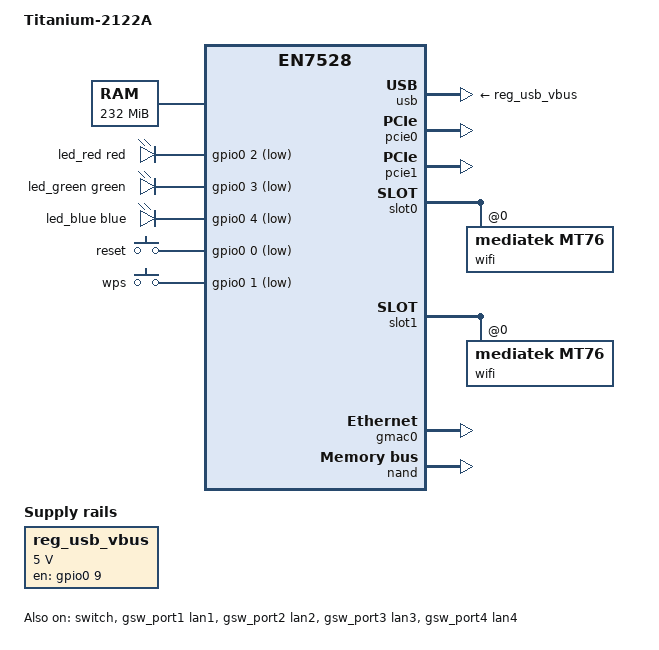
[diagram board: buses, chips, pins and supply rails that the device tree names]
// SPDX-License-Identifier: (GPL-2.0-only OR BSD-2-Clause)
/dts-v1/;

#include "en7528.dtsi"

#include <dt-bindings/gpio/gpio.h>
#include <dt-bindings/input/input.h>
#include <dt-bindings/leds/common.h>

/*
 * JioFiber JCOW407 (Reliance Jio GPON ONT) — EcoNet/Airoha EN7528, MIPS 1004Kc.
 * First-cut port derived from the in-tree DASAN H660GM-A (Airtel) EN7528 ONT.
 *
 * VERIFIED from this unit's serial boot capture:
 *   - SoC EN7528 (econet,en7528 subtarget), little-endian 1004Kc
 *   - RAM 256 MB DDR3
 *   - SPI-NAND FORESEE FS35ND02GS3Y2 (256 MB, ID cd eb 11)
 *   - Wi-Fi MediaTek MT7663 (ChipID 0x7663) -> mt76 (mt7615e + mt7603)
 *   - Flash partition offsets from /proc/mtd sizes: bootloader@0, romfile@0x40000,
 *     tclinux@0x80000 (0x1900000), tclinux_slave@0x1980000 (0x1900000),
 *     opt0@0x3280000, opt1@0x3a80000, ubifs@0x4280000,
 *     reservearea@0xddc0000 (0x240000) <- boot flag lives at +0x200000
 *     (verified by writing 0xdfc0000 from the bootloader)
 *
 * UNVERIFIED (inherited from DASAN H660GM-A — confirm on-device once root):
 *   - LED / gpio-keys GPIO numbers
 *   - MAC base offset inside romfile/dzs (DASAN: macaddr@a in "dzs")
 *   - Wi-Fi precal/EEPROM offsets inside reservearea (DASAN: 0x40000 / 0x1c0000)
 *   - usb vbus GPIO, ethernet switch/PHY port map
 */

/ {
	model = "Titanium-2122A";
	compatible = "titanium,t2122a", "econet,en7528";

	aliases {
		led-boot = &led_green;
		led-failsafe = &led_red;
		led-running = &led_green;
		led-upgrade = &led_blue;
		serial0 = &uart;
	};

	memory@0 {
		device_type = "memory";
		/* 512 MB physical, BUT SoC peripheral MMIO sits at 0x1fbf0000 (uart),
		 * 0x1fb8xxxx (pcie), 0x1fb90000 (usb). A flat 0x0-0x1fffffff RAM node
		 * overlaps that block, so ioremap() of the UART returns NULL and the
		 * 8250 probe panics in set_mctrl. The vendor kernel caps usable RAM at
		 * 0x1affffff, so limit RAM to 0x1b000000 (432 MB) below the MMIO hole. */
		reg = <0x00000000 0x0e800000>;
	};

	chosen {
		stdout-path = "serial0:115200n8";
		linux,usable-memory-range = <0x00020000 0x0e7e0000>;
		/* Attach UBI on the "opt0" partition (mtd) at boot so fstools
		 * mounts its "rootfs_data" volume as the /overlay — persistent
		 * config on NAND. opt0 is used because the stock firmware owns the
		 * "ubifs"/"ubifs2" partitions (its config_data /flash + config_data2
		 * /flash2) and reformats them on boot, so putting the OpenWrt overlay
		 * there would make stock (Slot A) and OpenWrt clobber each other's
		 * data. opt0 is untouched by stock, so the two coexist. jffs2-in-
		 * mtdblock split does not work on NAND. */
		bootargs = "ubi.mtd=opt0";
	};

	/*
	 * Single tri-colour system/status LED on GPIO 2/3/4 (red/green/blue).
	 * Source: stock JCOW407_R2.35 /userfs/led.conf (tabular led_no/gpio/mode,
	 * read by tcledctrl.ko), cross-checked via ledctl1 (led_no 78/79/80 ->
	 * gpio 2/3/4). VERIFIED on hardware: driving red lit the panel LED solid
	 * red and green is the default power LED -> GPIO map + ACTIVE_LOW polarity
	 * confirmed. The four RJ45 link/activity LEDs are driven by the MT7530
	 * switch/PHY in hardware (a linked port lights with no SoC GPIO involved),
	 * so they are intentionally NOT gpio-leds. led.conf's LANPORT GPIOs
	 * (31/33/35/37 status, 30/32/34/36 act) drive no visible front-panel LED
	 * on this board and were dropped after on-HW testing.
	 */
	leds {
		compatible = "gpio-leds";

		led_red: red {
			color = <LED_COLOR_ID_RED>;
			function = LED_FUNCTION_STATUS;
			gpios = <&gpio0 2 GPIO_ACTIVE_LOW>;
		};

		led_green: green {
			color = <LED_COLOR_ID_GREEN>;
			function = LED_FUNCTION_POWER;
			gpios = <&gpio0 3 GPIO_ACTIVE_LOW>;
		};

		led_blue: blue {
			color = <LED_COLOR_ID_BLUE>;
			function = LED_FUNCTION_WAN;
			gpios = <&gpio0 4 GPIO_ACTIVE_LOW>;
		};
	};

	/* buttons: stock led.conf LED_SYS_RESET=gpio0, LED_WLAN_WPS=gpio1 (mode 5=input) */
	keys {
		compatible = "gpio-keys-polled";
		poll-interval = <100>;

		key-reset {
			label = "reset";
			gpios = <&gpio0 0 GPIO_ACTIVE_LOW>;
			linux,code = <KEY_RESTART>;
		};

		key-wps {
			label = "wps";
			gpios = <&gpio0 1 GPIO_ACTIVE_LOW>;
			linux,code = <KEY_WPS_BUTTON>;
		};
	};

	reg_usb_vbus: regulator-usb-vbus {
		compatible = "regulator-fixed";
		regulator-name = "usb-vbus";
		regulator-min-microvolt = <5000000>;
		regulator-max-microvolt = <5000000>;
		gpios = <&gpio0 9 GPIO_ACTIVE_HIGH>;	/* UNVERIFIED */
		enable-active-high;
	};
};

&usb {
	status = "okay";
	vbus-supply = <&reg_usb_vbus>;
};

&pcie0 {
	status = "okay";
};

&pcie1 {
	status = "okay";
};

/* Wi-Fi MT7663 (VERIFIED chip); MAC/precal nvmem offsets inherited — UNVERIFIED */
&slot0 {
	status = "okay";

	wifi@0,0 {
		compatible = "mediatek,mt76";
		reg = <0x0000 0 0 0 0>;
		nvmem-cells = <&macaddr_boot 8>, <&eeprom_reservearea_1c0000>;
		nvmem-cell-names = "mac-address", "eeprom";
		ieee80211-freq-limit = <2400000 2500000>;
	};
};

&slot1 {
	status = "okay";

	wifi@0,0 {
		compatible = "mediatek,mt76";
		reg = <0x0000 0 0 0 0>;
		nvmem-cells = <&macaddr_boot 9>, <&eeprom_reservearea_40000>;
		nvmem-cell-names = "mac-address", "eeprom";
		ieee80211-freq-limit = <5000000 6000000>;
	};
};

&gmac0 {
	status = "okay";
	nvmem-cells = <&macaddr_boot 7>;
	nvmem-cell-names = "mac-address";
};

/*
 * MT7530 DSA switch. The shared en7528.dtsi shrinks the frame-engine
 * register window so econet-eth no longer sets up the dumb switch; the
 * on-die MT7530 must be driven by the mt7530 DSA driver instead, or the
 * board has no LAN. Socket-to-port mapping is UNVERIFIED — labels are in
 * switch-port order for now.
 */
&switch {
	status = "okay";
};

&gsw_port1 {
	status = "okay";
	label = "lan1";
};

&gsw_port2 {
	status = "okay";
	label = "lan2";
};

&gsw_port3 {
	status = "okay";
	label = "lan3";
};

&gsw_port4 {
	status = "okay";
	label = "lan4";
};

/* --- Flash layout for Titanium-2122A (128 MB SPI-NAND, verified from /proc/mtd) --- */
&nand {
	status = "okay";
	econet,bmt;
	econet,bbt-table-size = <250>;

	partitions: partitions {
		compatible = "fixed-partitions";
		#address-cells = <1>;
		#size-cells = <1>;

		partition@0 {
			label = "bootloader";
			reg = <0x0 0x40000>;
			read-only;
			/* MAC base location verified at 0x3fe48 in an mtd0 backup. */
			nvmem-layout {
				compatible = "fixed-layout";
				#address-cells = <1>;
				#size-cells = <1>;

				macaddr_boot: macaddr@3fe48 {
					compatible = "mac-base";
					reg = <0x3fe48 0x6>;
					#nvmem-cell-cells = <1>;
				};
			};
		};

		partition@40000 {
			label = "romfile";
			reg = <0x40000 0x40000>;
		};

		partition@80000 {
			label = "tclinux";
			reg = <0x80000 0x1900000>;
			econet,enable-remap;
		};

		/* squashfs starts at 0x80000+0x400000 (kernel padded to 4 MB) */
		partition@480000 {
			label = "rootfs";
			reg = <0x480000 0x1500000>;
			linux,rootfs;
		};

		partition@1980000 {
			label = "tclinux_slave";
			reg = <0x1980000 0x1900000>;
		};

		partition@3280000 {
			label = "opt0";
			reg = <0x3280000 0x800000>;
		};

		partition@3a80000 {
			label = "opt1";
			reg = <0x3a80000 0x800000>;
		};

		partition@4280000 {
			label = "ubifs";
			reg = <0x4280000 0x1000000>;
		};

		/* Boot flag byte at 0xddc0000 + 0x200000 selects the bank.
		 * reservearea is the last 0x240000 bytes of the 256 MB flash,
		 * exactly as on the DASAN/JCOW407 reference. */
		partition@ddc0000 {
			label = "reservearea";
			reg = <0xddc0000 0x240000>;
			nvmem-layout {
				compatible = "fixed-layout";
				#address-cells = <1>;
				#size-cells = <1>;

				eeprom_reservearea_40000: eeprom@40000 {
					reg = <0x40000 0x4da8>;
				};

				eeprom_reservearea_1c0000: eeprom@1c0000 {
					reg = <0x1c0000 0x400>;
				};
			};
		};
	};
};
